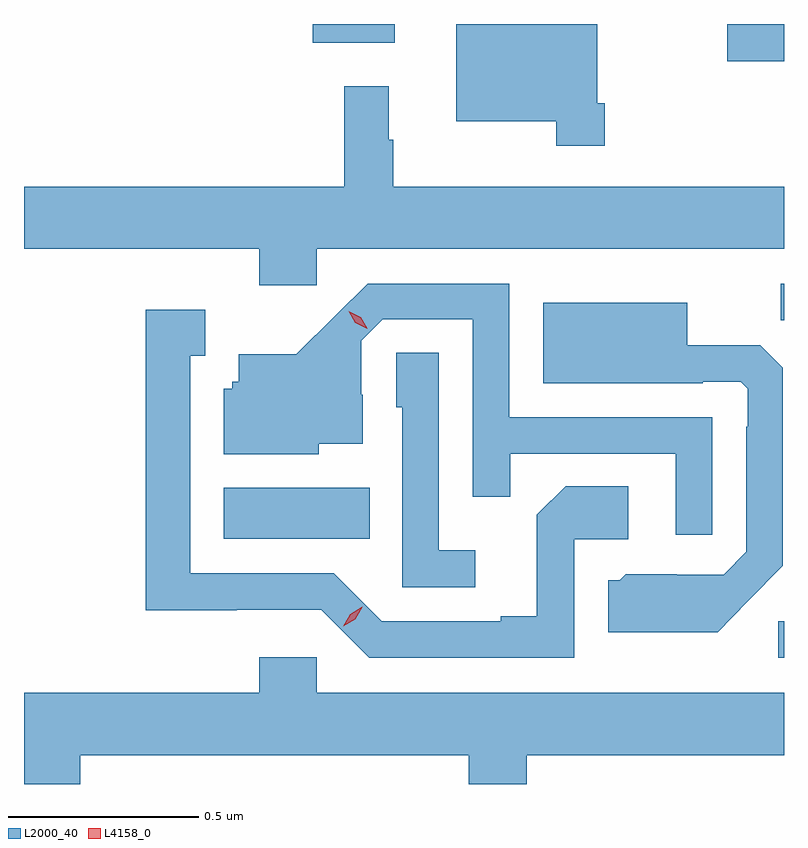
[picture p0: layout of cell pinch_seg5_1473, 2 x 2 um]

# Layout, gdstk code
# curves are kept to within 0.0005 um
import gdstk
lib = gdstk.Library(unit=1e-6, precision=1e-09)
def R(c, l, rs):  # rectangles x0, y0, x1, y1
    for r in rs: c.add(gdstk.rectangle(r[:2], r[2:], *l))
def P(c, l, *ps):  # polygons
    for p in ps: c.add(gdstk.Polygon(p, *l))
L2000_40 = (2000, 40)
L4158_0 = (4158, 0)

pinch_seg5_1473 = lib.new_cell('pinch_seg5_1473')
R(pinch_seg5_1473, L2000_40, [(138.831,912.96,138.846,913.056), (137.372,913.274,137.756,913.408), (138.838,913.849,138.846,913.944), (138.696,914.53,138.846,914.628), (137.606,914.579,137.821,914.628)])
P(pinch_seg5_1473, L2000_40, [(138.374,914.419),(138.354,914.419),(138.354,914.628),(137.984,914.628),(137.984,914.372),(138.246,914.372),(138.246,914.307),(138.374,914.307)],
  [(137.616,914.036),(138.846,914.036),(138.846,914.2),(137.818,914.2),(137.818,914.324),(137.806,914.324),(137.806,914.464),(137.689,914.464),(137.689,914.2),(136.846,914.2),(136.846,914.036),(137.465,914.036),(137.465,913.941),(137.616,913.941)],
  [(138.657,913.593),(138.123,913.593),(138.123,913.944),(137.75,913.944),(137.563,913.759),(137.411,913.759),(137.411,913.686),(137.394,913.686),(137.394,913.668),(137.372,913.668),(137.372,913.496),(137.622,913.496),(137.622,913.523),(137.737,913.523),(137.737,913.652),(137.733,913.652),(137.733,913.794),(137.79,913.851),(138.027,913.851),(138.027,913.384),(138.125,913.384),(138.125,913.497),(138.561,913.497),(138.561,913.284),(138.657,913.284)],
  [(138.751,913.109),(138.843,913.202),(138.843,913.724),(138.784,913.783),(138.592,913.783),(138.592,913.894),(138.212,913.894),(138.212,913.682),(138.632,913.682),(138.632,913.686),(138.732,913.686),(138.75,913.668),(138.75,913.568),(138.747,913.568),(138.747,913.239),(138.687,913.179),(138.564,913.179),(138.564,913.18),(138.43,913.18),(138.414,913.164),(138.383,913.164),(138.383,913.028),(138.671,913.028)],
  [(138.294,913.272),(138.436,913.272),(138.436,913.412),(138.271,913.412),(138.195,913.336),(138.195,913.069),(138.101,913.069),(138.101,913.056),(137.787,913.056),(137.661,913.182),(137.284,913.182),(137.284,913.755),(137.323,913.755),(137.323,913.876),(137.166,913.876),(137.166,913.085),(137.406,913.085),(137.406,913.086),(137.628,913.086),(137.754,912.96),(138.294,912.96)],
  [(138.034,913.243),(137.937,913.243),(137.937,913.763),(137.826,913.763),(137.826,913.62),(137.841,913.62),(137.841,913.146),(138.034,913.146)],
  [(136.994,912.704),(138.017,912.704),(138.017,912.628),(138.169,912.628),(138.169,912.704),(138.846,912.704),(138.846,912.868),(137.616,912.868),(137.616,912.961),(137.465,912.961),(137.465,912.868),(136.846,912.868),(136.846,912.628),(136.994,912.628)])
P(pinch_seg5_1473, L4158_0, [(137.749,913.826),(137.718,913.842),(137.701,913.872),(137.701,913.872),(137.701,913.872),(137.732,913.856),(137.749,913.827),(137.749,913.826)],
  [(137.686,913.043),(137.686,913.043),(137.704,913.075),(137.736,913.094),(137.736,913.094),(137.736,913.093),(137.718,913.061),(137.686,913.043)])

lib.write_gds('pinch_seg5_1473.gds')
